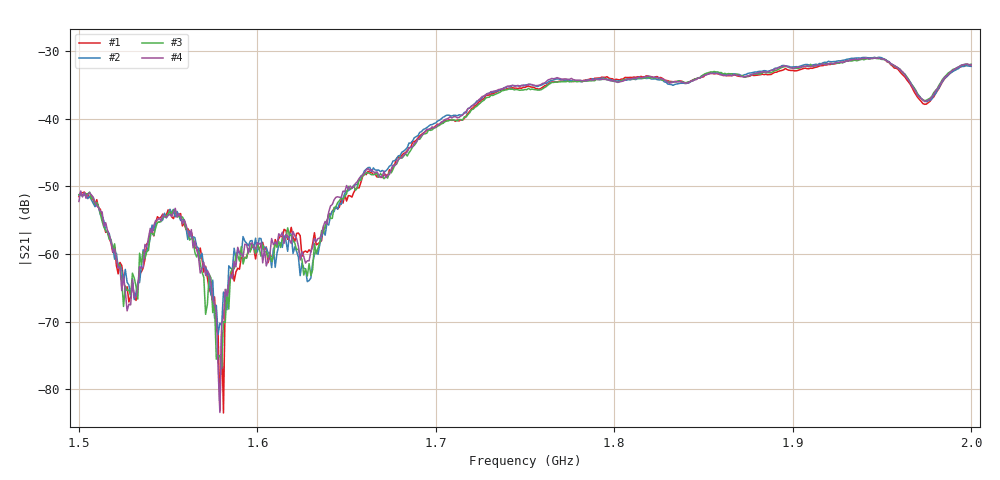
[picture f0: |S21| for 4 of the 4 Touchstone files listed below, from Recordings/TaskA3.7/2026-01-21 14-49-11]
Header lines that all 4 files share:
! NanoVNA-App by SYSJOINT et al v1.1.209 (+OD18)
! Start: 1,5GHz Stop: 2GHz Points: 501
! S-Parameter data: F S11 S21 S12 S22
# Hz S RI R 50
!  Frequency  S11_Real  S11_Imag  S21_Real  S21_Imag  S12_Real  S12_Imag  S22_Real  S22_Imag
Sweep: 1.5 GHz to 2 GHz
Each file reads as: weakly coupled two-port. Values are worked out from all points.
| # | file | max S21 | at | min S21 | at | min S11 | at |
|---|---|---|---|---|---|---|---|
| 1 | 0.s2p | -30.96 dB | 1.948 GHz | -83.5 dB | 1.581 GHz | -31.9 dB | 1.817 GHz |
| 2 | 1.s2p | -30.90 dB | 1.948 GHz | -71.9 dB | 1.578 GHz | -30.6 dB | 1.817 GHz |
| 3 | 2.s2p | -31.02 dB | 1.946 GHz | -77.0 dB | 1.58 GHz | -31.1 dB | 1.817 GHz |
| 4 | 3.s2p | -31.00 dB | 1.946 GHz | -83.4 dB | 1.579 GHz | -30.6 dB | 1.817 GHz |
